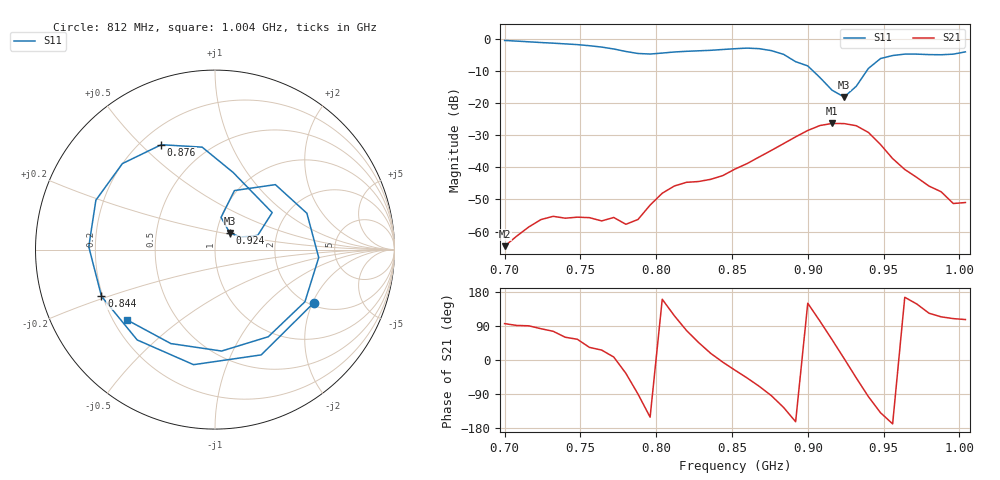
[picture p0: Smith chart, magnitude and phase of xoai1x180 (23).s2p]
# Hz S RI R 50
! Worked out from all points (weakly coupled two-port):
!   39 points, 700 MHz to 1.004 GHz, reference 50 ohm
!   highest |S21| = -26.35 dB at 916 MHz (marker M1); lowest = -64.6 dB at 700 MHz (marker M2)
!   lowest |S11| = -18.1 dB at 924 MHz (marker M3), VSWR 1.28, Z = 57.9 + j10.9 ohm
!   |S11| at or under -10 dB: 903.5 MHz to 938.9 MHz (35.33 MHz wide, 3.84 % of centre)
!   S12 and S22 are empty: the file has one direction only
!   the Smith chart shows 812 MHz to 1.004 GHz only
!   S11 on the Smith chart (normalised r, x): 812 MHz: 2.10, -2.05; 844 MHz: 0.19, -0.19; 876 MHz: 0.28, +0.58; 924 MHz: 1.16, +0.22; 1.004 GHz: 0.25, -0.33
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7e8  0.7667 0.5531  -6.15e-05 0.000588  0 0  0 0
7.24e8  0.8427 -0.244  0.0002 0.00152  0 0  0 0
7.4e8  0.4563 -0.7008  0.000804 0.0014  0 0  0 0
7.56e8  -0.1921 -0.7587  0.00138 0.0009  0 0  0 0
7.72e8  -0.6686 -0.1951  0.00164 0.000227  0 0  0 0
7.8e8  -0.5943 0.23  0.00106 -0.000747  0 0  0 0
7.88e8  -0.2368 0.5432  3.9e-06 -0.00154  0 0  0 0
7.96e8  0.2536 0.5227  -0.00225 -0.00126  0 0  0 0
8.04e8  0.5793 0.1618  -0.00372 0.00133  0 0  0 0
8.12e8  0.5506 -0.2963  -0.0023 0.00457  0 0  0 0
8.28e8  -0.1194 -0.6411  0.00417 0.00432  0 0  0 0
8.44e8  -0.6324 -0.2603  0.0074 -0.000755  0 0  0 0
8.52e8  -0.7033 0.0158  0.00837 -0.00425  0 0  0 0
8.76e8  -0.2993 0.5845  -0.00132 -0.0183  0 0  0 0
9e8  0.3186 0.2062  -0.0324 0.0189  0 0  0 0
9.08e8  0.238 0.079  -0.0099 0.0436  0 0  0 0
9.16e8  0.143 0.0698  0.0284 0.0389  0 0  0 0
9.24e8  0.0823 0.0931  0.0479 0.00316  0 0  0 0
9.4e8  0.1085 0.3291  -0.00402 -0.0347  0 0  0 0
9.56e8  0.512 0.2023  -0.0134 -0.00271  0 0  0 0
9.8e8  0.2968 -0.4856  -0.00281 0.00425  0 0  0 0
1.004e9  -0.4911 -0.3913  -0.000815 0.00271  0 0  0 0
